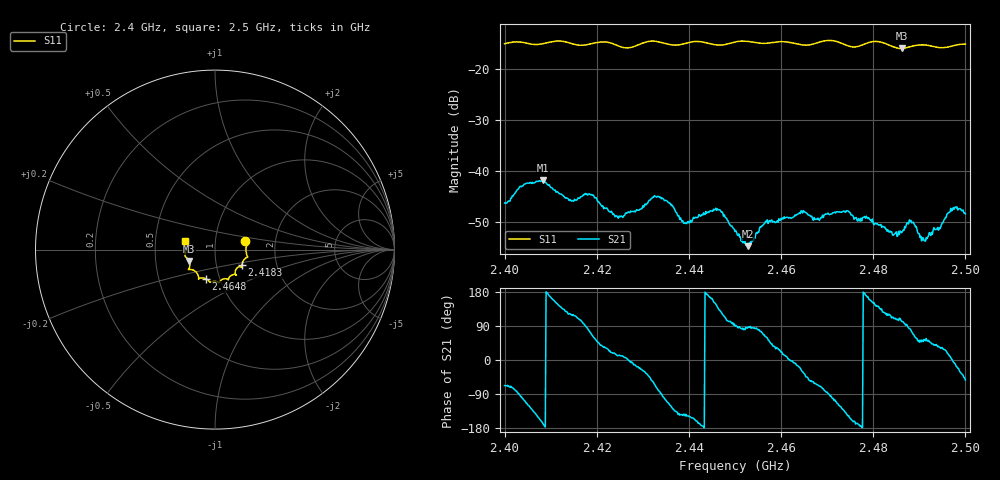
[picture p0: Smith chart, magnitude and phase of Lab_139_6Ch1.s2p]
# Hz S RI R 50
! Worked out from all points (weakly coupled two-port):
!   601 points, 2.4 GHz to 2.5 GHz, reference 50 ohm
!   highest |S21| = -41.89 dB at 2.4083 GHz (marker M1); lowest = -54.8 dB at 2.4528 GHz (marker M2)
!   lowest |S11| = -16.1 dB at 2.4862 GHz (marker M3), VSWR 1.37, Z = 37.1 - j4.83 ohm
!   |S11| at or under -10 dB: start of sweep to end of sweep
!   S12 and S22 are empty: the file has one direction only
!   S11 on the Smith chart (normalised r, x): 2.4 GHz: 1.40, +0.13; 2.4183 GHz: 1.33, -0.24; 2.4648 GHz: 0.86, -0.29; 2.5 GHz: 0.71, +0.07
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2.4e9  0.1693 0.0458  0.00184 -0.00446  0 0  0 0
2.403833e9  0.1792 0.0284  -0.00133 -0.00695  0 0  0 0
2.408333e9  0.1749 -0.0198  -0.00787 -0.00167  0 0  0 0
2.4145e9  0.1695 -0.0488  -0.00247 0.00438  0 0  0 0
2.416667e9  0.1548 -0.068  -0.00124 0.00545  0 0  0 0
2.418333e9  0.15 -0.0871  0.00131 0.00579  0 0  0 0
2.425167e9  0.1324 -0.0964  0.00351 0.00067  0 0  0 0
2.433333e9  0.1174 -0.141  0.000977 -0.00552  0 0  0 0
2.439e9  0.078 -0.1572  -0.00246 -0.00183  0 0  0 0
2.446167e9  0.0513 -0.1627  -0.00324 0.00272  0 0  0 0
2.45e9  0.0254 -0.1807  -1.55e-06 0.00253  0 0  0 0
2.452833e9  0.0194 -0.1837  8.28e-05 0.00182  0 0  0 0
2.4565e9  -0.00519 -0.177  0.00142 0.00273  0 0  0 0
2.464833e9  -0.0507 -0.1627  0.00338 -0.00225  0 0  0 0
2.466667e9  -0.0715 -0.1573  0.00194 -0.00302  0 0  0 0
2.474167e9  -0.0955 -0.1402  -0.00319 -0.0025  0 0  0 0
2.483333e9  -0.1413 -0.0964  -0.00119 0.00222  0 0  0 0
2.486167e9  -0.1442 -0.0634  -0.000501 0.00242  0 0  0 0
2.488333e9  -0.1594 -0.0443  0.000818 0.00297  0 0  0 0
2.491333e9  -0.1674 -0.0321  0.00128 0.00158  0 0  0 0
2.497333e9  -0.1647 0.0306  0.00432 -0.000296  0 0  0 0
2.5e9  -0.1671 0.0471  0.00227 -0.00301  0 0  0 0
